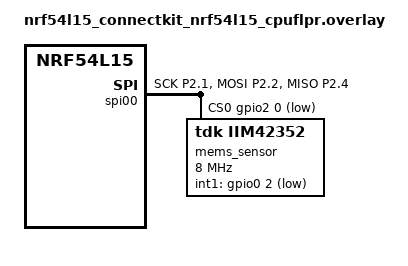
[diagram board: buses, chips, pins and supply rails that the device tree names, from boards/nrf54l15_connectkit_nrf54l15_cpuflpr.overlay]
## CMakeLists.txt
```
#
# Copyright (c) 2018 Nordic Semiconductor
# Copyright (c) 2016-2025 Makerdiary <https://makerdiary.com>
#
# SPDX-License-Identifier: LicenseRef-Nordic-5-Clause
#
cmake_minimum_required(VERSION 3.20.0)

find_package(Zephyr REQUIRED HINTS $ENV{ZEPHYR_BASE})
project(flpr_app)

# NORDIC SDK APP START
target_sources(app PRIVATE
  src/adc_sampler.c
  src/fatal_diag.c
  src/ipc_tx.c
  src/main.c
)

target_include_directories(app PRIVATE
  src
  ${CMAKE_CURRENT_SOURCE_DIR}/../src
  ${CMAKE_CURRENT_SOURCE_DIR}/../../rf_link_common
)

# NORDIC SDK APP END
```

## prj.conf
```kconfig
CONFIG_CONSOLE=n
CONFIG_UART_CONSOLE=n
CONFIG_PRINTK=n
CONFIG_STDOUT_CONSOLE=n
CONFIG_EARLY_CONSOLE=n
CONFIG_BOOT_BANNER=n
CONFIG_NCS_BOOT_BANNER=n

CONFIG_MBOX=y
CONFIG_IPC_SERVICE=y
CONFIG_IPC_SERVICE_BACKEND_ICMSG=y
CONFIG_ASSERT=y
CONFIG_CRC=y

CONFIG_SPI=y
CONFIG_GPIO=y

CONFIG_MAIN_STACK_SIZE=4096
CONFIG_IPC_SERVICE_BACKEND_ICMSG_WQ_STACK_SIZE=2048
CONFIG_PBUF_RX_READ_BUF_SIZE=256
```

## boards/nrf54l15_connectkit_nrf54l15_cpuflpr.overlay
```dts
/ {
	soc {
		reserved-memory {
			#address-cells = <1>;
			#size-cells = <1>;

			sram_tx: memory@20018000 {
				reg = <0x20018000 0x0800>;
			};

			sram_rx: memory@20020000 {
				reg = <0x20020000 0x0800>;
			};

			rf_link_lp_trace_mem: memory@20020800 {
				reg = <0x20020800 0x0100>;
			};

			rf_link_mems_slot0: memory@20021000 {
				reg = <0x20021000 0x2100>;
			};

			rf_link_mems_slot1: memory@20023100 {
				reg = <0x20023100 0x2100>;
			};
		};
	};

	ipc {
		ipc0: ipc0 {
			compatible = "zephyr,ipc-icmsg";
			dcache-alignment = <32>;
			tx-region = <&sram_tx>;
			rx-region = <&sram_rx>;
			mboxes = <&cpuflpr_vevif_rx 21>, <&cpuflpr_vevif_tx 20>;
			mbox-names = "rx", "tx";
			status = "okay";
		};
	};
};

&cpuflpr_vevif_rx {
	status = "okay";
};

&cpuflpr_vevif_tx {
	status = "okay";
};

&pinctrl {
	spi00_default: spi00_default {
		group1 {
			psels = <NRF_PSEL(SPIM_SCK, 2, 1)>,
				<NRF_PSEL(SPIM_MOSI, 2, 2)>,
				<NRF_PSEL(SPIM_MISO, 2, 4)>;
		};
	};
};

&gpio0 {
	status = "okay";
};

&gpio2 {
	status = "okay";
};

/* P0.02 is the MEMS INT1 input in this product wiring, not the board LED. */
&led0 {
	status = "disabled";
};

&spi00 {
	compatible = "nordic,nrf-spim";
	status = "okay";
	pinctrl-0 = <&spi00_default>;
	pinctrl-names = "default";
	cs-gpios = <&gpio2 0 GPIO_ACTIVE_LOW>;

	mems_sensor: iim42352@0 {
		compatible = "tdk,iim42352";
		reg = <0>;
		spi-max-frequency = <8000000>;
		int1-gpios = <&gpio0 2 (GPIO_PULL_UP | GPIO_ACTIVE_LOW)>;
	};
};

&uart30 {
	status = "disabled";
};
```

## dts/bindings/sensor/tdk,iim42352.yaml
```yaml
description: TDK InvenSense IIM-42352 three-axis accelerometer

compatible: "tdk,iim42352"

include: spi-device.yaml

properties:
  int1-gpios:
    type: phandle-array
    required: true
    description: Active-low FIFO watermark interrupt output
```

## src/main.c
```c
#include <stdint.h>
#if defined(CONFIG_CACHE_MANAGEMENT)
#include <zephyr/cache.h>
#endif
#include <zephyr/kernel.h>
#include <zephyr/sys/barrier.h>
#include <zephyr/sys/crc.h>

#include "adc_sampler.h"
#include "ipc_tx.h"
#include "lp_trace.h"
#include "mems_batch.h"

#define BATCH_IPC_TIMEOUT_MS 20u

static void update_lp_trace(int last_ret)
{
	struct adc_sampler_stats sensor_stats;
	struct ipc_tx_stats ipc_stats;

	adc_sampler_stats_get(&sensor_stats);
	ipc_tx_stats_get(&ipc_stats);
	rf_link_lp_trace_note_sensor(sensor_stats.irq_count,
				 sensor_stats.poll_fallbacks,
				 sensor_stats.fifo_packets,
				 sensor_stats.samples_captured,
				 sensor_stats.malformed_packets,
				 sensor_stats.spi_errors,
				 sensor_stats.fifo_overflows);
	rf_link_lp_trace_note_ipc(ipc_stats.sent, ipc_stats.busy,
				  ipc_stats.failed, ipc_stats.released,
				  ipc_stats.bad_release, ipc_stats.slot_waits,
				  last_ret);
}

int main(void)
{
	uint32_t batch_seq = 0u;
	int ret;

	rf_link_lp_trace_boot();

	ret = ipc_tx_init();
	if (ret != 0) {
		rf_link_lp_trace_note_fatal((uint32_t)-ret);
		return ret;
	}
	rf_link_lp_trace_set_stage(RF_LINK_LP_STAGE_IPC_READY);

	ret = ipc_tx_wait_bound(K_FOREVER);
	if (ret != 0) {
		rf_link_lp_trace_note_fatal((uint32_t)-ret);
		return ret;
	}
	rf_link_lp_trace_set_stage(RF_LINK_LP_STAGE_IPC_BOUND);

	ret = adc_sampler_init();
	if (ret != 0) {
		update_lp_trace(ret);
		rf_link_lp_trace_note_fatal((uint32_t)-ret);
		return ret;
	}
	rf_link_lp_trace_set_stage(RF_LINK_LP_STAGE_SENSOR_READY);

	while (1) {
		volatile struct rf_link_mems_batch *shared_batch;
		int16_t *samples;
		uint32_t slot_index;
		uint32_t crc;

		ret = ipc_tx_acquire_slot(&slot_index, K_FOREVER);
		if (ret != 0) {
			update_lp_trace(ret);
			continue;
		}

		shared_batch = rf_link_mems_batch_slot(slot_index);
		if (shared_batch == NULL) {
			rf_link_lp_trace_note_fatal(0x100u);
			return -EINVAL;
		}

		shared_batch->magic = RF_LINK_MEMS_BATCH_MAGIC;
		shared_batch->version = RF_LINK_MEMS_BATCH_VERSION;
		shared_batch->slot_index = slot_index;
		shared_batch->batch_seq = batch_seq;
		shared_batch->sample_count = RF_LINK_MEMS_BATCH_SAMPLE_COUNT;
		shared_batch->capture_start_ms = k_uptime_get_32();
		rf_link_lp_trace_note_loop(batch_seq);

		samples = (int16_t *)(uintptr_t)&shared_batch->samples[0];
		ret = adc_sampler_read_samples(samples,
					       RF_LINK_MEMS_BATCH_SAMPLE_COUNT);
		if (ret != 0) {
			update_lp_trace(ret);
			rf_link_lp_trace_note_fatal((uint32_t)-ret);
			return ret;
		}

		shared_batch->capture_end_ms = k_uptime_get_32();
		crc = crc32_ieee((const uint8_t *)samples,
				 sizeof(shared_batch->samples));
		shared_batch->sample_crc32 = crc;
		barrier_dmem_fence_full();
#if defined(CONFIG_CACHE_MANAGEMENT)
		(void)sys_cache_data_flush_range((void *)(uintptr_t)shared_batch,
						 sizeof(*shared_batch));
#endif
		barrier_dmem_fence_full();

		ret = ipc_tx_publish_batch(slot_index, batch_seq, crc,
					   K_MSEC(BATCH_IPC_TIMEOUT_MS));
		update_lp_trace(ret);
		if (ret == 0) {
			rf_link_lp_trace_note_batch(batch_seq, slot_index);
			batch_seq++;
		}
	}
}
```

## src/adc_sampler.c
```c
#include "adc_sampler.h"

#include <zephyr/kernel.h>

static uint16_t seq;
static int16_t sample_value;

void adc_sampler_init(void)
{
	seq = 0;
	sample_value = 0;
}

void adc_sampler_fill_frame(struct rf_frame *frame)
{
	if (frame == NULL) {
		return;
	}

	frame->magic = RF_LINK_MAGIC;
	frame->seq = seq++;
	frame->sample_count = RF_LINK_FRAME_SAMPLE_COUNT;
	frame->flags = RF_LINK_FRAME_FLAGS_TEST;
	frame->timestamp_ms = k_uptime_get_32();

	for (uint32_t i = 0; i < RF_LINK_FRAME_SAMPLE_COUNT; i++) {
		frame->samples[i] = sample_value;
		sample_value = (int16_t)((sample_value + 1) & 0x0fff);
	}
}
```

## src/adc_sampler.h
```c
#ifndef RF_LINK_ADC_SAMPLER_H_
#define RF_LINK_ADC_SAMPLER_H_

#include <stdint.h>

#include "proto.h"

void adc_sampler_init(void);
void adc_sampler_fill_frame(struct rf_frame *frame);

#endif /* RF_LINK_ADC_SAMPLER_H_ */
```

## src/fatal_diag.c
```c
#include <zephyr/fatal.h>

#include "lp_trace.h"

void k_sys_fatal_error_handler(unsigned int reason, const struct arch_esf *esf)
{
	ARG_UNUSED(esf);

	rf_link_lp_trace_note_fatal(reason);
	k_fatal_halt(reason);
}
```

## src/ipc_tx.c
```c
#include "ipc_tx.h"

#include <errno.h>
#include <zephyr/device.h>
#include <zephyr/devicetree.h>
#include <zephyr/ipc/ipc_service.h>
#include <zephyr/sys/atomic.h>

#define IPC_NODE DT_NODELABEL(ipc0)

#if !DT_NODE_HAS_STATUS(IPC_NODE, okay)
#error "ipc0 is not enabled in devicetree"
#endif

static K_SEM_DEFINE(bound_sem, 0, 1);
static struct ipc_ept lp_ept;

static atomic_t sent;
static atomic_t busy;
static atomic_t failed;

static void tx_bound(void *priv)
{
	ARG_UNUSED(priv);
	k_sem_give(&bound_sem);
}

static void tx_error(const char *message, void *priv)
{
	ARG_UNUSED(message);
	ARG_UNUSED(priv);
}

static const struct ipc_ept_cfg lp_ept_cfg = {
	.name = "rf_link_ept",
	.cb = {
		.bound = tx_bound,
		.error = tx_error,
	},
};

int ipc_tx_init(void)
{
	const struct device *ipc0 = DEVICE_DT_GET(IPC_NODE);
	int ret;

	if (!device_is_ready(ipc0)) {
		return -ENODEV;
	}

	ret = ipc_service_open_instance(ipc0);
	if (ret < 0 && ret != -EALREADY) {
		return ret;
	}

	return ipc_service_register_endpoint(ipc0, &lp_ept, &lp_ept_cfg);
}

int ipc_tx_wait_bound(k_timeout_t timeout)
{
	return k_sem_take(&bound_sem, timeout);
}

int ipc_tx_send_frame(const struct rf_frame *frame, k_timeout_t timeout)
{
	k_timepoint_t end;
	int ret;

	if (frame == NULL) {
		return -EINVAL;
	}

	end = sys_timepoint_calc(timeout);

	do {
		ret = ipc_service_send(&lp_ept, frame, sizeof(*frame));
		if (ret == 0 || ret == (int)sizeof(*frame)) {
			atomic_inc(&sent);
			return 0;
		}

		if (ret != -ENOMEM && ret != -EAGAIN &&
		    ret != -EBUSY && ret != -ENOBUFS) {
			atomic_inc(&failed);
			return ret;
		}

		atomic_inc(&busy);
		k_sleep(K_USEC(50));
	} while (K_TIMEOUT_EQ(timeout, K_FOREVER) || !sys_timepoint_expired(end));

	atomic_inc(&failed);
	return -ETIMEDOUT;
}

void ipc_tx_stats_get(struct ipc_tx_stats *stats)
{
	if (stats == NULL) {
		return;
	}

	stats->sent = (uint32_t)atomic_get(&sent);
	stats->busy = (uint32_t)atomic_get(&busy);
	stats->failed = (uint32_t)atomic_get(&failed);
}
```

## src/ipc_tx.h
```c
#ifndef RF_LINK_IPC_TX_H_
#define RF_LINK_IPC_TX_H_

#include <stdint.h>
#include <zephyr/kernel.h>

#include "mems_batch.h"

struct ipc_tx_stats {
	uint32_t sent;
	uint32_t busy;
	uint32_t failed;
	uint32_t released;
	uint32_t bad_release;
	uint32_t slot_waits;
};

int ipc_tx_init(void);
int ipc_tx_wait_bound(k_timeout_t timeout);
int ipc_tx_acquire_slot(uint32_t *slot_index, k_timeout_t timeout);
int ipc_tx_publish_batch(uint32_t slot_index, uint32_t batch_seq,
			 uint32_t sample_crc32, k_timeout_t timeout);
void ipc_tx_stats_get(struct ipc_tx_stats *stats);

#endif /* RF_LINK_IPC_TX_H_ */
```

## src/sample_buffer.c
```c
#include "sample_buffer.h"

#include <errno.h>
#include <zephyr/sys/atomic.h>

#define SAMPLE_BUFFER_DEPTH 8

K_MSGQ_DEFINE(sample_frame_msgq, sizeof(struct rf_frame), SAMPLE_BUFFER_DEPTH, 4);

static atomic_t pushed;
static atomic_t popped;
static atomic_t dropped;

void sample_buffer_init(void)
{
	k_msgq_purge(&sample_frame_msgq);
	atomic_clear(&pushed);
	atomic_clear(&popped);
	atomic_clear(&dropped);
}

int sample_buffer_push(const struct rf_frame *frame)
{
	struct rf_frame discard;
	int ret;

	ret = k_msgq_put(&sample_frame_msgq, frame, K_NO_WAIT);
	if (ret == 0) {
		atomic_inc(&pushed);
		return 0;
	}

	if (ret == -ENOMSG && k_msgq_get(&sample_frame_msgq, &discard, K_NO_WAIT) == 0) {
		atomic_inc(&dropped);
		ret = k_msgq_put(&sample_frame_msgq, frame, K_NO_WAIT);
		if (ret == 0) {
			atomic_inc(&pushed);
			return 0;
		}
	}

	atomic_inc(&dropped);
	return ret;
}

int sample_buffer_pop(struct rf_frame *frame, k_timeout_t timeout)
{
	int ret = k_msgq_get(&sample_frame_msgq, frame, timeout);

	if (ret == 0) {
		atomic_inc(&popped);
	}

	return ret;
}

void sample_buffer_stats_get(struct sample_buffer_stats *stats)
{
	if (stats == NULL) {
		return;
	}

	stats->pushed = (uint32_t)atomic_get(&pushed);
	stats->popped = (uint32_t)atomic_get(&popped);
	stats->dropped = (uint32_t)atomic_get(&dropped);
}
```

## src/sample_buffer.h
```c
#ifndef RF_LINK_SAMPLE_BUFFER_H_
#define RF_LINK_SAMPLE_BUFFER_H_

#include <stdint.h>
#include <zephyr/kernel.h>

#include "proto.h"

struct sample_buffer_stats {
	uint32_t pushed;
	uint32_t popped;
	uint32_t dropped;
};

void sample_buffer_init(void);
int sample_buffer_push(const struct rf_frame *frame);
int sample_buffer_pop(struct rf_frame *frame, k_timeout_t timeout);
void sample_buffer_stats_get(struct sample_buffer_stats *stats);

#endif /* RF_LINK_SAMPLE_BUFFER_H_ */
```
